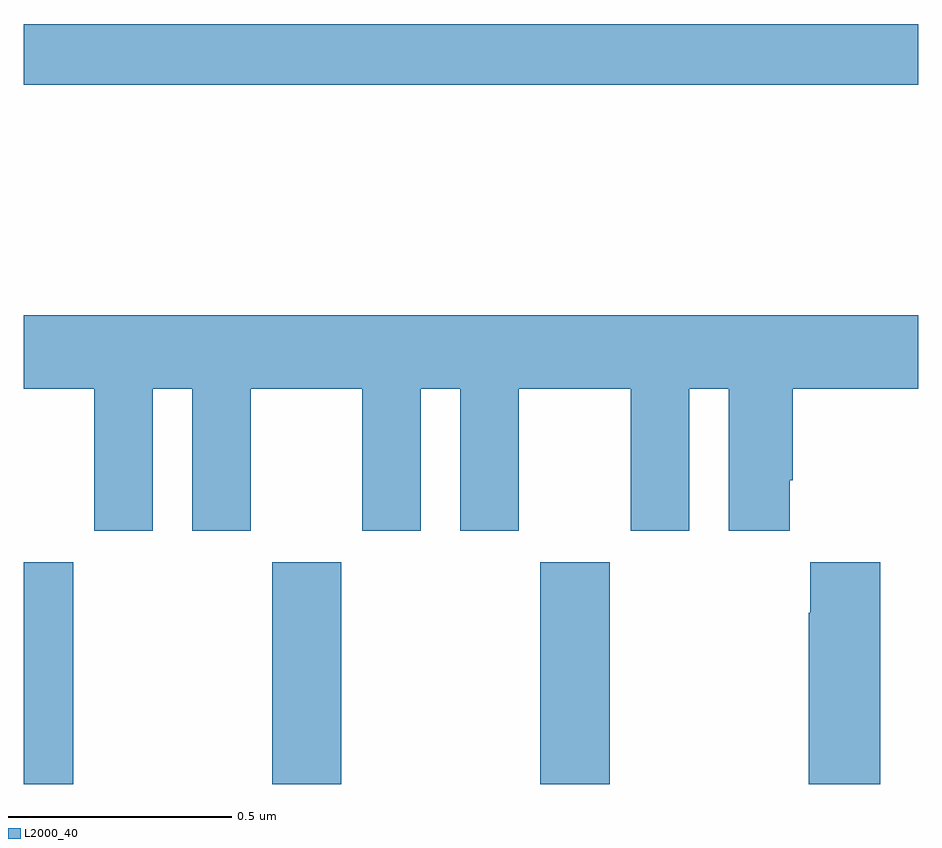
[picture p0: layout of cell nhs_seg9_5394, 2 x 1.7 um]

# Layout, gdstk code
import gdstk
lib = gdstk.Library(unit=1e-6, precision=1e-09)
def R(c, l, rs):  # rectangles x0, y0, x1, y1
    for r in rs: c.add(gdstk.rectangle(r[:2], r[2:], *l))
def P(c, l, *ps):  # polygons
    for p in ps: c.add(gdstk.Polygon(p, *l))
L2000_40 = (2000, 40)

nhs_seg9_5394 = lib.new_cell('nhs_seg9_5394')
R(nhs_seg9_5394, L2000_40, [(178,1231.5,178.11,1231.996), (178.555,1231.5,178.71,1231.996), (179.155,1231.5,179.31,1231.996), (178,1233.064,180,1233.2)])
P(nhs_seg9_5394, L2000_40, [(178.288,1232.384),(178.376,1232.384),(178.376,1232.067),(178.507,1232.067),(178.507,1232.384),(178.757,1232.384),(178.757,1232.067),(178.888,1232.067),(178.888,1232.384),(178.976,1232.384),(178.976,1232.067),(179.107,1232.067),(179.107,1232.384),(179.357,1232.384),(179.357,1232.067),(179.488,1232.067),(179.488,1232.384),(179.576,1232.384),(179.576,1232.067),(179.713,1232.067),(179.713,1232.179),(179.72,1232.179),(179.72,1232.384),(180,1232.384),(180,1232.548),(178,1232.548),(178,1232.384),(178.157,1232.384),(178.157,1232.067),(178.288,1232.067)],
  [(179.915,1231.996),(179.759,1231.996),(179.759,1231.883),(179.755,1231.883),(179.755,1231.5),(179.915,1231.5)])

lib.write_gds('nhs_seg9_5394.gds')
